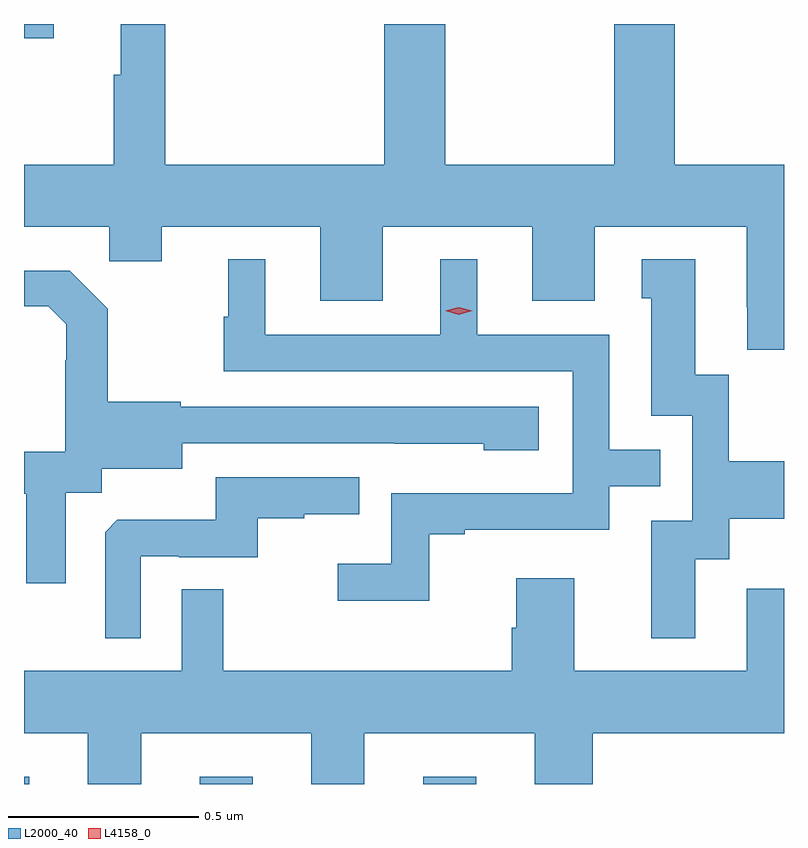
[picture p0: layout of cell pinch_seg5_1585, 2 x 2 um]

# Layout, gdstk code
import gdstk
lib = gdstk.Library(unit=1e-6, precision=1e-09)
def R(c, l, rs):  # rectangles x0, y0, x1, y1
    for r in rs: c.add(gdstk.rectangle(r[:2], r[2:], *l))
def P(c, l, *ps):  # polygons
    for p in ps: c.add(gdstk.Polygon(p, *l))
L2000_40 = (2000, 40)
L4158_0 = (4158, 0)

pinch_seg5_1585 = lib.new_cell('pinch_seg5_1585')
R(pinch_seg5_1585, L2000_40, [(258.335,845.97,258.349,845.989), (258.797,845.97,258.937,845.989), (259.385,845.97,259.525,845.989), (258.335,847.932,258.413,847.97)])
P(pinch_seg5_1585, L2000_40, [(260.335,847.6),(260.048,847.6),(260.048,847.97),(259.888,847.97),(259.888,847.6),(259.443,847.6),(259.443,847.97),(259.283,847.97),(259.283,847.6),(258.707,847.6),(258.707,847.97),(258.59,847.97),(258.59,847.836),(258.571,847.836),(258.571,847.6),(258.335,847.6),(258.335,847.436),(258.559,847.436),(258.559,847.346),(258.697,847.346),(258.697,847.436),(259.115,847.436),(259.115,847.242),(259.279,847.242),(259.279,847.436),(259.673,847.436),(259.673,847.242),(259.837,847.242),(259.837,847.436),(260.237,847.436),(260.237,847.225),(260.238,847.225),(260.238,847.113),(260.335,847.113)],
  [(260.101,846.562),(260.191,846.562),(260.191,846.668),(260.335,846.668),(260.335,846.82),(260.19,846.82),(260.19,847.047),(260.101,847.047),(260.101,847.351),(259.961,847.351),(259.961,847.248),(259.985,847.248),(259.985,846.939),(260.094,846.939),(260.094,846.663),(259.985,846.663),(259.985,846.354),(260.101,846.354)],
  [(259.401,846.627),(259.495,846.627),(259.495,846.639),(259.875,846.639),(259.875,846.753),(260.009,846.753),(260.009,846.849),(259.875,846.849),(259.875,847.152),(259.528,847.152),(259.528,847.351),(259.43,847.351),(259.43,847.152),(258.97,847.152),(258.97,847.351),(258.872,847.351),(258.872,847.2),(258.861,847.2),(258.861,847.056),(259.779,847.056),(259.779,846.735),(259.302,846.735),(259.302,846.55),(259.161,846.55),(259.161,846.452),(259.401,846.452)],
  [(258.445,846.736),(258.54,846.736),(258.54,846.8),(258.751,846.8),(258.751,846.867),(259.309,846.867),(259.309,846.866),(259.545,846.866),(259.545,846.848),(259.69,846.848),(259.69,846.963),(258.747,846.963),(258.747,846.976),(258.555,846.976),(258.555,847.221),(258.455,847.321),(258.335,847.321),(258.335,847.227),(258.399,847.227),(258.446,847.18),(258.446,847.085),(258.444,847.085),(258.444,846.844),(258.335,846.844),(258.335,846.734),(258.341,846.734),(258.341,846.498),(258.445,846.498)],
  [(258.642,846.57),(258.742,846.57),(258.742,846.567),(258.95,846.567),(258.95,846.669),(259.073,846.669),(259.073,846.68),(259.217,846.68),(259.217,846.777),(258.84,846.777),(258.84,846.665),(258.581,846.665),(258.549,846.633),(258.549,846.353),(258.642,846.353)],
  [(258.859,846.482),(258.75,846.482),(258.75,846.268),(258.335,846.268),(258.335,846.104),(258.503,846.104),(258.503,845.97),(258.643,845.97),(258.643,846.104),(259.091,846.104),(259.091,845.97),(259.231,845.97),(259.231,846.104),(259.679,846.104),(259.679,845.97),(259.832,845.97),(259.832,846.104),(260.335,846.104),(260.335,846.484),(260.237,846.484),(260.237,846.268),(259.783,846.268),(259.783,846.511),(259.631,846.511),(259.631,846.381),(259.619,846.381),(259.619,846.268),(258.859,846.268)])
P(pinch_seg5_1585, L4158_0, [(259.479,847.205),(259.443,847.215),(259.443,847.215),(259.443,847.216),(259.479,847.225),(259.515,847.216),(259.515,847.215),(259.515,847.215)])

lib.write_gds('pinch_seg5_1585.gds')
